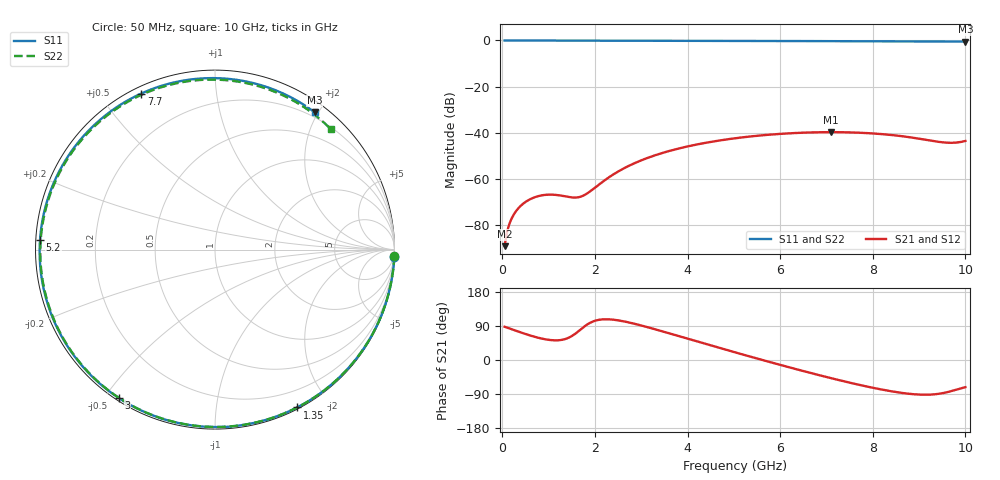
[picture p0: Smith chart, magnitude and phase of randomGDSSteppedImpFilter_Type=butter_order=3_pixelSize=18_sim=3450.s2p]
! freq	dB(S11)	phase(S11)	dB(S12)	phase(S12)
!  dB(S21)	phase(S21)	dB(S22)	phase(S22)
!S-par simulation data
#  GHz  S  DB  R 50
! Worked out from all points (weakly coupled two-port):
!   200 points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, 50 MHz to 10 GHz, reference 50 ohm
!   highest |S21| = -39.67 dB at 7.1 GHz (marker M1); lowest = -89.0 dB at 50 MHz (marker M2)
!   lowest |S11| = -0.5 dB at 10 GHz (marker M3), VSWR 35.38, Z = 6.82 + j97.6 ohm
!   |S11| at or under -10 dB: nowhere
!   |S22| runs from -0.6 to 0.0 dB; largest |S21 - S12| = 0
!   S11 on the Smith chart (normalised r, x): 50 MHz: 0, -47; 1.35 GHz: 0.02, -1.65; 3 GHz: 0.01, -0.54; 5.2 GHz: 0.01, +0.03; 7.7 GHz: 0.03, +0.63; 10 GHz: 0.14, +1.95
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0.05  -0.00 -2.5  -89.01 87.7  -89.01 87.7  -0.00 -2.1
0.15  -0.01 -7.3  -79.53 83.4  -79.53 83.4  -0.01 -6.2
0.25  -0.02 -12.1  -75.24 79.1  -75.24 79.1  -0.01 -10.4
0.35  -0.02 -16.9  -72.54 74.8  -72.54 74.8  -0.02 -14.5
0.6  -0.04 -28.8  -68.72 64.7  -68.72 64.7  -0.03 -24.6
0.95  -0.06 -45.0  -66.77 54.2  -66.77 54.2  -0.05 -38.6
1.35  -0.08 -62.5  -67.42 55.0  -67.42 55.0  -0.07 -54.1
1.75  -0.09 -78.9  -67.13 86.3  -67.13 86.3  -0.08 -69.0
2.35  -0.11 -101.3  -58.59 106.9  -58.59 106.9  -0.10 -90.0
3  -0.13 -123.0  -51.88 91.1  -51.88 91.1  -0.13 -111.0
3.4  -0.14 -135.2  -49.04 77.6  -49.04 77.6  -0.14 -123.2
4.2  -0.17 -157.6  -45.02 49.2  -45.02 49.2  -0.17 -146.1
5.05  -0.20 -179.5  -42.26 19.4  -42.26 19.4  -0.21 -169.1
5.2  -0.21 176.7  -41.90 14.2  -41.90 14.2  -0.22 -173.1
5.95  -0.24 158.4  -40.49 -11.2  -40.49 -11.2  -0.26 167.0
6.7  -0.28 140.1  -39.78 -35.6  -39.78 -35.6  -0.32 146.9
7.1  -0.30 130.3  -39.67 -48.0  -39.67 -48.0  -0.35 135.9
7.7  -0.34 115.3  -39.91 -65.4  -39.91 -65.4  -0.39 118.8
8.35  -0.38 98.7  -40.80 -81.5  -40.80 -81.5  -0.45 99.4
9.15  -0.43 77.4  -43.00 -91.7  -43.00 -91.7  -0.52 74.2
9.65  -0.46 63.8  -44.28 -83.6  -44.28 -83.6  -0.58 57.7
10  -0.49 54.1  -43.49 -71.8  -43.49 -71.8  -0.62 46.0
